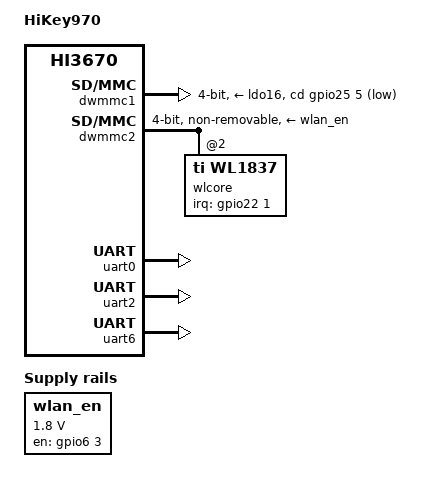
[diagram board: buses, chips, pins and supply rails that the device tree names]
// SPDX-License-Identifier: GPL-2.0
/*
 * dts file for Hisilicon HiKey970 Development Board
 *
 * Copyright (C) 2016, HiSilicon Ltd.
 * Copyright (C) 2018, Linaro Ltd.
 *
 */

/dts-v1/;
#include <dt-bindings/gpio/gpio.h>

#include "hi3670.dtsi"
#include "hikey970-pinctrl.dtsi"
#include "hikey970-pmic.dtsi"

/ {
	model = "HiKey970";
	compatible = "hisilicon,hi3670-hikey970", "hisilicon,hi3670";

	aliases {
		mshc1 = &dwmmc1;
		mshc2 = &dwmmc2;
		serial0 = &uart0;
		serial1 = &uart1;
		serial2 = &uart2;
		serial3 = &uart3;
		serial4 = &uart4;
		serial5 = &uart5;
		serial6 = &uart6;       /* console UART */
	};

	chosen {
		stdout-path = "serial6:115200n8";
	};

	memory@0 {
		device_type = "memory";
		/* expect bootloader to fill in this region */
		reg = <0x0 0x0 0x0 0x0>;
	};

	wlan_en: wlan-en-1-8v {
		compatible = "regulator-fixed";
		regulator-name = "wlan-en-regulator";
		regulator-min-microvolt = <1800000>;
		regulator-max-microvolt = <1800000>;

		/* GPIO_051_WIFI_EN */
		gpio = <&gpio6 3 0>;

		/* WLAN card specific delay */
		startup-delay-us = <70000>;
		enable-active-high;
	};
};

/*
 * Legend: proper name = the GPIO line is used as GPIO
 *         NC = not connected (pin out but not routed from the chip to
 *              anything the board)
 *         "[PER]" = pin is muxed for [peripheral] (not GPIO)
 *         "" = no idea, schematic doesn't say, could be
 *              unrouted (not connected to any external pin)
 *         LSEC = Low Speed External Connector
 *         HSEC = High Speed External Connector
 *
 * Line names are taken from "hikey970-schematics.pdf" from HiSilicon.
 *
 * For the lines routed to the external connectors the
 * lines are named after the 96Boards CE Specification 1.0,
 * Appendix "Expansion Connector Signal Description".
 *
 * When the 96Board naming of a line and the schematic name of
 * the same line are in conflict, the 96Board specification
 * takes precedence, which means that the external UART on the
 * LSEC is named UART0 while the schematic and SoC names this
 * UART2. This is only for the informational lines i.e. "[FOO]",
 * the GPIO named lines "GPIO-A" thru "GPIO-L" are the only
 * ones actually used for GPIO.
 */
&gpio0 {
	/* GPIO_000-GPIO_007 */
	gpio-line-names =
		"",
		"TP901", /* TEST_MODE connected to TP901 */
		"",
		"GPIO_003_USB_HUB_RESET_N",
		"NC",
		"[AP_GPS_REF_CLK]",
		"[I2C3_SCL]",
		"[I2C3_SDA]";
};

&gpio1 {
	/* GPIO_008-GPIO_015 */
	gpio-line-names =
		"[UART0_CTS]", /* LSEC pin 3: GPIO_008_UART2_CTS_N */
		"[UART0_RTS]", /* LSEC pin 9: GPIO_009_UART2_RTS_N */
		"[UART0_TXD]", /* LSEC pin 5: GPIO_010_UART2_TXD */
		"[UART0_RXD]", /* LSEC pin 7: GPIO_011_UART2_RXD */
		"[USER_LED5]",
		"GPIO-I", /* LSEC pin 31: GPIO_013_CAM0_RST_N */
		"[USER_LED3]",
		"[USER_LED4]";
};

&gpio2 {
	/* GPIO_016-GPIO_023 */
	gpio-line-names =
		"GPIO-G", /* LSEC pin 29: GPIO_016_LCD_TE0 */
		"[CSI0_MCLK]", /* HSEC pin 15: ISP_CCLK0_MCAM */
		"[CSI1_MCLK]", /* HSEC pin 17: ISP_CCLK1_SCAM */
		"GPIO_019_BT_ACTIVE",
		"[I2C2_SCL]", /* HSEC pin 32: ISP_SCL0 */
		"[I2C2_SDA]", /* HSEC pin 34: ISP_SDA0 */
		"[I2C3_SCL]", /* HSEC pin 36: ISP_SCL1 */
		"[I2C3_SDA]"; /* HSEC pin 38: ISP_SDA1 */
};

&gpio3 {
	/* GPIO_024-GPIO_031 */
	gpio-line-names =
		"GPIO_024_WIFI_ACTIVE",
		"GPIO_025_PERST_M.2",
		"[I2C4_SCL]",
		"[I2C4_SDA]",
		"NC",
		"GPIO-H", /* LSEC pin 30: GPIO_029_LCD_RST_N */
		"[USER_LED1]",
		"GPIO-L"; /* LSEC pin 34: GPIO_031 */
};

&gpio4 {
	/* GPIO_032-GPIO_039 */
	gpio-line-names =
		"GPIO-K", /* LSEC pin 33: GPIO_032_CAM1_RST_N */
		"GPIO_033_PMU1_EN",
		"GPIO_034_USBSW_SEL",
		/*
		 * These two pins should be used for SD(IO) data according
		 * to the 96boards specification but seems to be repurposed
		 * for UART 0. They are however named according to the spec.
		 */
		"[SD_DAT1]", /* HSEC pin 3: GPIO_035_UART0_RXD */
		"[SD_DAT2]", /* HSEC pin 5: GPIO_036_UART0_TXD */
		"[UART1_RXD]", /* LSEC pin 13: DEBUG_UART6_RXD */
		"[UART1_TXD]", /* LSEC pin 11: DEBUG_UART6_TXD */
		"[SOC_GPS_UART3_CTS_N]"; /* TP2304 */
};

&gpio5 {
	/* GPIO_040-GPIO_047 */
	gpio-line-names =
		"[SOC_GPS_UART3_RTS_N]", /* TP2302 */
		"[SOC_GPS_UART3_RXD]", /* TP2303 */
		"[SOC_GPS_UART3_TXD]", /* TP2305 */
		"[SOC_BT_UART4_CTS_N]",
		"[SOC_BT_UART4_RTS_N]",
		"[SOC_BT_UART4_RXD]",
		"[SOC_BT_UART4_TXD]",
		"NC";
};

&gpio6 {
	/* GPIO_048-GPIO_055 */
	gpio-line-names =
		"NC",
		"GPIO_049_USER_LED6",
		"GPIO_050_CAN_RST",
		"GPIO_051_WIFI_EN",
		"GPIO-D", /* LSEC pin 26 */
		"GPIO-J", /* LSEC pin 32 */
		"GPIO_054_BT_EN",
		"[GPIO_055_SEL]";
};

&gpio7 {
	/* GPIO_056-GPIO_063 */
	gpio-line-names =
		"[PCIE_PERST_L]", "NC", "NC", "NC", "NC", "NC", "NC", "NC";
};

&gpio8 {
	/* GPIO_064-GPIO_071 */
	gpio-line-names = "NC", "NC", "NC", "NC", "NC", "NC", "NC", "NC";
};

&gpio9 {
	/* GPIO_072-GPIO_079 */
	gpio-line-names = "NC", "NC", "NC", "NC", "NC", "NC", "NC", "NC";
};

&gpio10 {
	/* GPIO_080-GPIO_087 */
	gpio-line-names = "NC", "NC", "NC", "NC", "NC", "NC", "NC", "NC";
};

&gpio11 {
	/* GPIO_088-GPIO_095 */
	gpio-line-names = "NC", "NC", "NC", "NC", "NC", "NC", "NC", "NC";
};

&gpio12 {
	/* GPIO_096-GPIO_103 */
	gpio-line-names = "NC", "", "", "", "", "", "", "";
};

&gpio13 {
	/* GPIO_104-GPIO_111 */
	gpio-line-names = "", "", "", "", "", "", "", "";
};

&gpio14 {
	/* GPIO_112-GPIO_119 */
	gpio-line-names = "", "", "", "", "", "", "", "";
};

&gpio15 {
	/* GPIO_120-GPIO_127 */
	gpio-line-names = "", "", "", "", "", "", "", "";
};

&gpio16 {
	/* GPIO_128-GPIO_135 */
	gpio-line-names =
		"[WL_SDIO_CLK]",
		"[WL_SDIO_CMD]",
		"[WL_SDIO_DATA0]",
		"[WL_SDIO_DATA1]",
		"[WL_SDIO_DATA2]",
		"[WL_SDIO_DATA3]",
		"[ETH_ISOLATE]",
		"NC";
};

&gpio17 {
	/* GPIO_136-GPIO_143 */
	gpio-line-names =
		"[MINI1CLK_EN]", "NC", "", "", "", "", "", "";
};

&gpio18 {
	/* GPIO_144-GPIO_151 */
	gpio-line-names =
		"[SPI1_SCLK]", /* HSEC pin 9: GPIO_144_SPI3_CLK */
		"[SPI1_DIN]", /* HSEC pin 11: GPIO_145_SPI3_DI */
		"[SPI1_DOUT]", /* HSEC pin 1: GPIO_146_SPI3_DO */
		"[SPI1_CS]", /* HSEC pin 7: GPIO_147_SPI3_CS0_N */
		"[POWER_INT_N]",
		"[CDMA_GPS_SYNC]",
		"GPIO_150_PEX_INTA",
		"GPIO_151_CAN_INT";
};

&gpio19 {
	/* GPIO_152-GPIO_159 */
	gpio-line-names = "", "", "", "", "", "", "", "";
};

&gpio20 {
	/* GPIO_160-GPIO_167 */
	gpio-line-names =
		"[SD_CLK]",
		"[SD_CMD]",
		"[SD_DATA0]",
		"[SD_DATA1]",
		"[SD_DATA2]",
		"[SD_DATA3]",
		"GPIO_166_ETHCLK_EN",
		"GPIO_167_USER_LED2";
};

&gpio21 {
	/* GPIO_168-GPIO_175 */
	gpio-line-names =
		"GPIO_168_GPS_EN",
		"GPIO-C", /* LSEC pin 25: GPIO_169_USIM1_CLK */
		"GPIO-E", /* LSEC pin 27: GPIO_170_USIM1_RST */
		"GPIO-B", /* LSEC pin 24: GPIO_171_USIM1_DATA */
		"", "", "", "", "";
};

&gpio22 {
	/* GPIO_176-GPIO_183 */
	gpio-line-names =
		"[PMU_PWR_HOLD]",
		"GPIO_177_WL_WAKEUP_AP",
		"[JTAG_TCK]",
		"[JTAG_TMS]",
		"[JTAG_TDI]",
		"[JTAG_TMS]",
		"GPIO_182_FATAL_ERR",
		"NC";
};

&gpio23 {
	/* GPIO_184-GPIO_191 */
	gpio-line-names =
		"GPIO_184_JTAG_SEL",
		"GPIO-F", /* LSEC pin 28: GPIO_185_LCD_BL_PWM */
		"[I2C0_SCL]", /* LSEC pin 15: GPIO_186_I2C0_SCL */
		"[I2C0_SDA]", /* LSEC pin 17: GPIO_187_I2C0_SDA */
		"[GPIO_188_I2C1_SCL]", /* Actual SoC I2C1_SCL */
		"[GPIO_189_I2C1_SDA]", /* Actual SoC I2C1_SDA */
		"[I2C1_SCL]", /* LSEC pin 19: GPIO_190_I2C2_SCL */
		"[I2C2_SDA]"; /* LSEC pin 21: GPIO_191_I2C2_SDA */
};

&gpio24 {
	/* GPIO_192-GPIO_199 */
	gpio-line-names =
		"[SD_LED]",
		"NC",
		"[PCM_DI]", /* LSEC pin 22: GPIO_194_I2S0_DI */
		"[PCM_DO]", /* LSEC pin 20: GPIO_195_I2S0_DO */
		"[PCM_CLK]", /* LSEC pin 18: GPIO_196_I2S0_XCLK */
		"[PCM_FS]", /* LSEC pin 16: GPIO_197_I2S0_XFS */
		"",
		"[I2S2_DO]";
};

&gpio25 {
	/* GPIO_200-GPIO_207 */
	gpio-line-names =
		"[I2S2_XCLK]",
		"[I2S2_XFS]",
		"GPIO_202_PERST_ETH",
		"GPIO_203_PWRON_DET",
		"GPIO_204_PMU1_IRQ_N",
		"GPIO_205_SD_DET",
		"GPIO_206_GPS_MOTION_INT",
		"GPIO_207_HDMI_SEL";
};

&gpio26 {
	/* GPIO_208-GPIO_215 */
	gpio-line-names =
		"GPIO-A", /* LSEC pin 23: GPIO_208_WAKEUP_SOC */
		"GPIO_209_VBUS_TYPEC",
		"NC",
		"NC",
		"NC",
		"[SPI0_SCLK]", /* LSEC pin 8: GPIO_213_SPI2_CLK */
		"[SPI0_DIN]", /* LSEC pin 10: GPIO_214_SPI2_DI */
		"[SPI0_DOUT]"; /* LSEC pin 14: GPIO_215_SPI2_DO */
};

&gpio27 {
	/* GPIO_216-GPIO_223 */
	gpio-line-names =
		"[SPI0_CS]", /* LSEC pin 12: GPIO_216_SPI2_CS0_N */
		"GPIO_217_HDMI_PD",
		"GPIO_218_GPS_WAKEUP_AP",
		"GPIO_219_M.2CLK_EN",
		"GPIO_220_PERST_MINI",
		"GPIO_221_CC_INT",
		"[PCIE_CLKREQ_L]",
		"NC";
};

&gpio28 {
	/* GPIO_224-GPIO_231 */
	gpio-line-names =
		"[PMU0_INT]",
		"[SPMI_DATA]",
		"[SPMI_CLK]",
		"[CAN_SPI_CLK]",
		"[CAN_SPI_DI]",
		"[CAN_SPI_DO]",
		"[CAN_SPI_CS]",
		"GPIO_231_HDMI_INT";
};

&dwmmc1 {
	bus-width = <0x4>;
	sd-uhs-sdr12;
	sd-uhs-sdr25;
	sd-uhs-sdr50;
	sd-uhs-sdr104;
	cap-sd-highspeed;
	disable-wp;
	cd-inverted;
	cd-gpios = <&gpio25 5 GPIO_ACTIVE_HIGH>;
	pinctrl-names = "default";
	pinctrl-0 = <&sd_pmx_func
		     &sd_clk_cfg_func
		     &sd_cfg_func>;
	vmmc-supply = <&ldo16>;
	vqmmc-supply = <&ldo9>;
	status = "okay";
};

&dwmmc2 { /* WIFI */
	bus-width = <0x4>;
	non-removable;
	broken-cd;
	cap-power-off-card;
	pinctrl-names = "default";
	pinctrl-0 = <&sdio_pmx_func
		     &sdio_clk_cfg_func
		     &sdio_cfg_func>;
	/* WL_EN */
	vmmc-supply = <&wlan_en>;
	status = "okay";

	wlcore: wlcore@2 {
		compatible = "ti,wl1837";
		reg = <2>;      /* sdio func num */
		/* WL_IRQ, GPIO_177_WL_WAKEUP_AP */
		interrupt-parent = <&gpio22>;
		interrupts = <1 IRQ_TYPE_EDGE_RISING>;
	};
};

&uart0 {
	/* On High speed expansion header */
	label = "HS-UART0";
	status = "okay";
};

&uart2 {
	/* On Low speed expansion header */
	label = "LS-UART0";
	status = "okay";
};

&uart6 {
	/* On Low speed expansion header */
	label = "LS-UART1";
	status = "okay";
};
